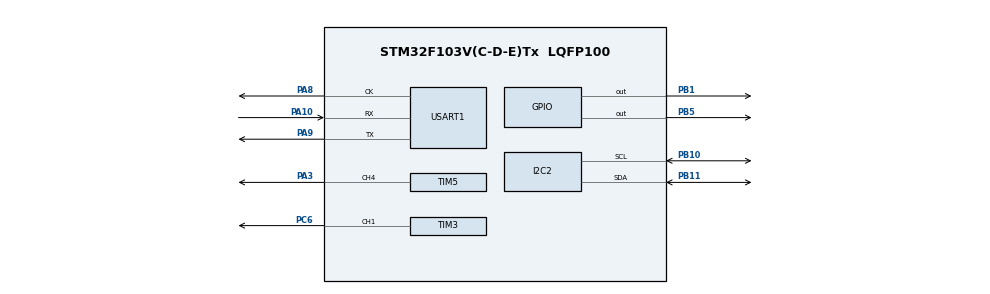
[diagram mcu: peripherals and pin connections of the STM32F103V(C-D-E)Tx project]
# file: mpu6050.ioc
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Mcu.Family=STM32F1
Mcu.Name=STM32F103V(C-D-E)Tx
Mcu.Package=LQFP100
NVIC.PriorityGroup=NVIC_PRIORITYGROUP_4
PA10.Mode=Synchronous
PA10.Signal=USART1_RX
PA13.Mode=JTAG_5_pins
PA13.Signal=SYS_JTMS-SWDIO
PA14.Mode=JTAG_5_pins
PA14.Signal=SYS_JTCK-SWCLK
PA15.Mode=JTAG_5_pins
PA15.Signal=SYS_JTDI
PA3.Signal=S_TIM5_CH4
PA8.Mode=Synchronous
PA8.Signal=USART1_CK
PA9.Mode=Synchronous
PA9.Signal=USART1_TX
PB1.Signal=GPIO_Output
PB10.Mode=I2C
PB10.Signal=I2C2_SCL
PB11.Mode=I2C
PB11.Signal=I2C2_SDA
PB3.Mode=JTAG_5_pins
PB3.Signal=SYS_JTDO-TRACESWO
PB4.Mode=JTAG_5_pins
PB4.Signal=SYS_NJTRST
PB5.Signal=GPIO_Output
PC6.Signal=S_TIM3_CH1
ProjectManager.HeapSize=0x200
ProjectManager.StackSize=0x400
ProjectManager.TargetToolchain=MDK-ARM V5
RCC.APB1Freq_Value=8000000
RCC.APB2Freq_Value=8000000
SH.S_TIM3_CH1.0=TIM3_CH1,PWM Generation1 CH1
SH.S_TIM5_CH4.0=TIM5_CH4,PWM Generation4 CH4
TIM3.Channel-PWM\ Generation1\ CH1=TIM_CHANNEL_1
TIM3.Period=2000
TIM3.Prescaler=80
TIM5.Channel-PWM\ Generation4\ CH4=TIM_CHANNEL_4
TIM5.Period=2000
TIM5.Prescaler=80
USART1.VirtualMode=VM_SYNC
board=custom

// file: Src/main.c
/* USER CODE BEGIN Header */
/**
  ******************************************************************************
  * @file           : main.c
  * @brief          : Main program body
  ******************************************************************************
  * @attention
  *
  * <h2><center>&copy; Copyright (c) 2019 STMicroelectronics.
  * All rights reserved.</center></h2>
  *
  * This software component is licensed by ST under BSD 3-Clause license,
  * the "License"; You may not use this file except in compliance with the
  * License. You may obtain a copy of the License at:
  *                        opensource.org/licenses/BSD-3-Clause
  *
  ******************************************************************************
  */
/* USER CODE END Header */

#include "main.h"

/* USER CODE BEGIN Includes */
#include "math.h"
#include "MadgwickAHRS.h"
#include "sd_hal_mpu6050.h"

/* USER CODE END Includes */

I2C_HandleTypeDef hi2c2;

TIM_HandleTypeDef htim3;
TIM_HandleTypeDef htim5;

USART_HandleTypeDef husart1;

/* USER CODE BEGIN PV */
SD_MPU6050 mpu1;

int16_t g_x, g_y, g_z;
int16_t a_x, a_y, a_z;
float a_ang;
int16_t m_x, m_y, m_z;
float m_ang;
float offset_val;
int offset_set=0;
float temper;
int16_t gScale = 1;
int16_t aScale = 1;
uint8_t magAddr = 0x1A;
float or0, or1, or2, or3;
int sweepLeft = 1;
float pwm_valY = 100, pwm_valX=100;
float pwm_angX,pwm_angY;
float pwm_prevX,pwm_prevY;
/* USER CODE END PV */

void SystemClock_Config(void);
static void MX_GPIO_Init(void);
static void MX_I2C2_Init(void);
static void MX_USART1_Init(void);
static void MX_TIM3_Init(void);
static void MX_TIM5_Init(void);
/* USER CODE BEGIN PFP */
static void I2C_Write(uint8_t slaveAddr, uint8_t regAddr, uint8_t data);
static uint8_t I2C_Read(uint8_t slaveAddr, uint8_t regAddr);
static void MAG_Init(void);
float map_pwm(float offset, float ang);
void user_pwm_setvalueX(uint16_t value);
void user_pwm_setvalueY(uint16_t value);
/* USER CODE END PFP */

int main(void)
{
  /* USER CODE BEGIN 1 */
		SD_MPU6050_Result result ;
		uint8_t mpu_ok[15] = {"MPU WORK FINE\n"};
		uint8_t mpu_not[17] = {"MPU NOT WORKING\n"};

  /* USER CODE END 1 */

  /* MCU Configuration--------------------------------------------------------*/

  /* Reset of all peripherals, Initializes the Flash interface and the Systick. */
  HAL_Init();

  /* USER CODE BEGIN Init */
	HAL_GPIO_WritePin(GPIOB,GPIO_PIN_1,GPIO_PIN_RESET);
  /* USER CODE END Init */

  /* Configure the system clock */
  SystemClock_Config();

  /* Initialize all configured peripherals */
  MX_GPIO_Init();
  MX_I2C2_Init();
  MX_USART1_Init();
  MX_TIM3_Init();
  MX_TIM5_Init();
  /* USER CODE BEGIN 2 */
	//HAL_GPIO_TogglePin(GPIOB, GPIO_PIN_5);
	MAG_Init();
	HAL_Delay(500);

	if(HAL_I2C_IsDeviceReady(&hi2c2, 0xD0, 2, 100) == HAL_OK ){
		HAL_GPIO_TogglePin(GPIOB, GPIO_PIN_5);
	}

	//HAL_GPIO_TogglePin(GPIOB, GPIO_PIN_1);

	if(HAL_I2C_IsDeviceReady(&hi2c2, 0x1A, 2, 100) == HAL_OK ){
		HAL_GPIO_TogglePin(GPIOB, GPIO_PIN_1);
	}

	HAL_TIM_PWM_Start(&htim3, TIM_CHANNEL_1);
	//user_pwm_setvalue(250);
  /* USER CODE END 2 */

  /* Infinite loop */
  /* USER CODE BEGIN WHILE */
  while (1)
  {
		/*
		user_pwm_setvalueX(pwm_valX);
		if (sweepLeft)
		{
			pwm_valX -= 5;
			if (pwm_valX <= 50){
				sweepLeft = 0;
			}

		} else {
			pwm_valX += 5;
			if (pwm_valX >= 250){
				sweepLeft = 1;
			}
		}

		HAL_Delay(20);
		*/
		//HAL_Delay(10000);

				result = SD_MPU6050_Init(&hi2c2,&mpu1,SD_MPU6050_Device_0,SD_MPU6050_Accelerometer_2G,SD_MPU6050_Gyroscope_250s );

		//Read Gyro
	  //HAL_Delay(500);
	  SD_MPU6050_ReadTemperature(&hi2c2,&mpu1);
	  temper = mpu1.Temperature;
	  SD_MPU6050_ReadGyroscope(&hi2c2,&mpu1);

	  g_x = mpu1.Gyroscope_X/gScale;
	  g_y = mpu1.Gyroscope_Y/gScale;
	  g_z = mpu1.Gyroscope_Z/gScale;

		SD_MPU6050_ReadAccelerometer(&hi2c2,&mpu1);
	  a_x = mpu1.Accelerometer_X/aScale;
	  a_y = mpu1.Accelerometer_Y/aScale;
	  a_z = mpu1.Accelerometer_Z/aScale;
		a_ang = ((float)a_y / 16384 ) * 90;
		MadgwickAHRSupdateIMU(g_x, g_y, g_z, a_x, a_y, a_z);
		or0 = q0; or1=q1; or2=q2;or3=q3;

		//Read Mag
		m_x =  I2C_Read(magAddr, 0x00) | (I2C_Read(magAddr, 0x01)<<8);
		m_y =  I2C_Read(magAddr, 0x02) | (I2C_Read(magAddr, 0x03)<<8);
		m_z =  I2C_Read(magAddr, 0x04) | (I2C_Read(magAddr, 0x05)<<8);

		m_ang = atan2f((float)m_y, (float)m_x)*180.0/3.14159265;

		if (m_ang < 0.0){
			m_ang += 360.0;
		}

		pwm_angY = a_y *90 / 16380;

		if (!offset_set){
			offset_val = m_ang;
			pwm_prevY = pwm_angY;
			offset_set = 1;
		}

		//pwm_ang = ;

		//pwm_angY = -pwm_angY;
		if (pwm_prevY - pwm_angY >3 ||  pwm_prevY - pwm_angY < -3){
			pwm_prevY = m_ang;
					if (pwm_angY < -90){
				user_pwm_setvalueY(50);
			} else if (pwm_angY > 90){
				user_pwm_setvalueY(230);
			} else{
				pwm_valY = (float)(150 + pwm_angY*100.0/90);
				user_pwm_setvalueY(pwm_valY);
			}
		}

		pwm_angX = map_pwm(offset_val, m_ang);
		pwm_angX = -pwm_angX;
		if (pwm_angX < -90){
				user_pwm_setvalueX(50);
			} else if (pwm_angX > 90){
				user_pwm_setvalueX(230);
			} else{
				pwm_valX = (float)(150 + pwm_angX*100.0/90);
				user_pwm_setvalueX(pwm_valX);
				pwm_prevX = pwm_valX;
		}

		/*
		if(pwm_ang > 360)
			pwm_ang -= 360;

		if (pwm_ang > 90 && pwm_ang < 180){
			user_pwm_setvalue(50);
		} else if (pwm_ang >= 180 && pwm_ang < 270){
			user_pwm_setvalue(250);
		} else{
			pwm_val = (float)(150 + pwm_ang*100.0/90);
			user_pwm_setvalue(pwm_val);
		}

    /* USER CODE END WHILE */

  }
}

void SystemClock_Config(void)
{
  RCC_OscInitTypeDef RCC_OscInitStruct = {0};
  RCC_ClkInitTypeDef RCC_ClkInitStruct = {0};

  /** Initializes the CPU, AHB and APB busses clocks
  */
  RCC_OscInitStruct.OscillatorType = RCC_OSCILLATORTYPE_HSI;
  RCC_OscInitStruct.HSIState = RCC_HSI_ON;
  RCC_OscInitStruct.HSICalibrationValue = RCC_HSICALIBRATION_DEFAULT;
  RCC_OscInitStruct.PLL.PLLState = RCC_PLL_NONE;
  if (HAL_RCC_OscConfig(&RCC_OscInitStruct) != HAL_OK)
  {
    Error_Handler();
  }
  /** Initializes the CPU, AHB and APB busses clocks
  */
  RCC_ClkInitStruct.ClockType = RCC_CLOCKTYPE_HCLK|RCC_CLOCKTYPE_SYSCLK
                              |RCC_CLOCKTYPE_PCLK1|RCC_CLOCKTYPE_PCLK2;
  RCC_ClkInitStruct.SYSCLKSource = RCC_SYSCLKSOURCE_HSI;
  RCC_ClkInitStruct.AHBCLKDivider = RCC_SYSCLK_DIV1;
  RCC_ClkInitStruct.APB1CLKDivider = RCC_HCLK_DIV1;
  RCC_ClkInitStruct.APB2CLKDivider = RCC_HCLK_DIV1;

  if (HAL_RCC_ClockConfig(&RCC_ClkInitStruct, FLASH_LATENCY_0) != HAL_OK)
  {
    Error_Handler();
  }
}

static void MX_I2C2_Init(void)
{

  hi2c2.Instance = I2C2;
  hi2c2.Init.ClockSpeed = 100000;
  hi2c2.Init.DutyCycle = I2C_DUTYCYCLE_2;
  hi2c2.Init.OwnAddress1 = 0;
  hi2c2.Init.AddressingMode = I2C_ADDRESSINGMODE_7BIT;
  hi2c2.Init.DualAddressMode = I2C_DUALADDRESS_DISABLE;
  hi2c2.Init.OwnAddress2 = 0;
  hi2c2.Init.GeneralCallMode = I2C_GENERALCALL_DISABLE;
  hi2c2.Init.NoStretchMode = I2C_NOSTRETCH_DISABLE;
  if (HAL_I2C_Init(&hi2c2) != HAL_OK)
  {
    Error_Handler();
  }

}

static void MX_TIM3_Init(void)
{

  TIM_MasterConfigTypeDef sMasterConfig = {0};
  TIM_OC_InitTypeDef sConfigOC = {0};

  htim3.Instance = TIM3;
  htim3.Init.Prescaler = 80;
  htim3.Init.CounterMode = TIM_COUNTERMODE_UP;
  htim3.Init.Period = 2000;
  htim3.Init.ClockDivision = TIM_CLOCKDIVISION_DIV1;
  htim3.Init.AutoReloadPreload = TIM_AUTORELOAD_PRELOAD_DISABLE;
  if (HAL_TIM_PWM_Init(&htim3) != HAL_OK)
  {
    Error_Handler();
  }
  sMasterConfig.MasterOutputTrigger = TIM_TRGO_RESET;
  sMasterConfig.MasterSlaveMode = TIM_MASTERSLAVEMODE_DISABLE;
  if (HAL_TIMEx_MasterConfigSynchronization(&htim3, &sMasterConfig) != HAL_OK)
  {
    Error_Handler();
  }
  sConfigOC.OCMode = TIM_OCMODE_PWM1;
  sConfigOC.Pulse = 0;
  sConfigOC.OCPolarity = TIM_OCPOLARITY_HIGH;
  sConfigOC.OCFastMode = TIM_OCFAST_DISABLE;
  if (HAL_TIM_PWM_ConfigChannel(&htim3, &sConfigOC, TIM_CHANNEL_1) != HAL_OK)
  {
    Error_Handler();
  }
  HAL_TIM_MspPostInit(&htim3);

}

static void MX_TIM5_Init(void)
{

  TIM_MasterConfigTypeDef sMasterConfig = {0};
  TIM_OC_InitTypeDef sConfigOC = {0};

  htim5.Instance = TIM5;
  htim5.Init.Prescaler = 80;
  htim5.Init.CounterMode = TIM_COUNTERMODE_UP;
  htim5.Init.Period = 2000;
  htim5.Init.ClockDivision = TIM_CLOCKDIVISION_DIV1;
  htim5.Init.AutoReloadPreload = TIM_AUTORELOAD_PRELOAD_DISABLE;
  if (HAL_TIM_PWM_Init(&htim5) != HAL_OK)
  {
    Error_Handler();
  }
  sMasterConfig.MasterOutputTrigger = TIM_TRGO_RESET;
  sMasterConfig.MasterSlaveMode = TIM_MASTERSLAVEMODE_DISABLE;
  if (HAL_TIMEx_MasterConfigSynchronization(&htim5, &sMasterConfig) != HAL_OK)
  {
    Error_Handler();
  }
  sConfigOC.OCMode = TIM_OCMODE_PWM1;
  sConfigOC.Pulse = 0;
  sConfigOC.OCPolarity = TIM_OCPOLARITY_HIGH;
  sConfigOC.OCFastMode = TIM_OCFAST_DISABLE;
  if (HAL_TIM_PWM_ConfigChannel(&htim5, &sConfigOC, TIM_CHANNEL_4) != HAL_OK)
  {
    Error_Handler();
  }
  HAL_TIM_MspPostInit(&htim5);

}

static void MX_USART1_Init(void)
{

  husart1.Instance = USART1;
  husart1.Init.BaudRate = 115200;
  husart1.Init.WordLength = USART_WORDLENGTH_8B;
  husart1.Init.StopBits = USART_STOPBITS_1;
  husart1.Init.Parity = USART_PARITY_NONE;
  husart1.Init.Mode = USART_MODE_TX_RX;
  husart1.Init.CLKPolarity = USART_POLARITY_LOW;
  husart1.Init.CLKPhase = USART_PHASE_1EDGE;
  husart1.Init.CLKLastBit = USART_LASTBIT_DISABLE;
  if (HAL_USART_Init(&husart1) != HAL_OK)
  {
    Error_Handler();
  }

}

static void MX_GPIO_Init(void)
{
  GPIO_InitTypeDef GPIO_InitStruct = {0};

  /* GPIO Ports Clock Enable */
  __HAL_RCC_GPIOA_CLK_ENABLE();
  __HAL_RCC_GPIOB_CLK_ENABLE();
  __HAL_RCC_GPIOC_CLK_ENABLE();

  /*Configure GPIO pin Output Level */
  HAL_GPIO_WritePin(GPIOB, GPIO_PIN_1|GPIO_PIN_5, GPIO_PIN_RESET);

  /*Configure GPIO pins : PB1 PB5 */
  GPIO_InitStruct.Pin = GPIO_PIN_1|GPIO_PIN_5;
  GPIO_InitStruct.Mode = GPIO_MODE_OUTPUT_PP;
  GPIO_InitStruct.Pull = GPIO_NOPULL;
  GPIO_InitStruct.Speed = GPIO_SPEED_FREQ_LOW;
  HAL_GPIO_Init(GPIOB, &GPIO_InitStruct);

}

/* USER CODE BEGIN 4 */
void I2C_Write(uint8_t slaveAddr, uint8_t regAddr, uint8_t data)
{
	uint8_t i2cData[2];
	i2cData[0] = regAddr;
	i2cData[1] = data;
	HAL_I2C_Master_Transmit(&hi2c2, slaveAddr, i2cData, 2, 100);
}

uint8_t I2C_Read(uint8_t slaveAddr, uint8_t regAddr)
{
	uint8_t i2cData[2];
	i2cData[0] = regAddr;
	HAL_I2C_Master_Transmit(&hi2c2, slaveAddr, i2cData, 1, 100);
	i2cData[1] = 0x00;
	HAL_I2C_Master_Receive(&hi2c2, slaveAddr, &i2cData[1], 1, 100);
	return i2cData[1];
}

void MAG_Init()
{
	I2C_Write(magAddr, 0x0A, 0x80);
	I2C_Write(magAddr, 0x0B, 0x01);
	I2C_Write(magAddr, 0x09, 0x1D);

	HAL_Delay(1000);
}

void user_pwm_setvalueX(uint16_t value)
{
    TIM_OC_InitTypeDef sConfigOC;

    sConfigOC.OCMode = TIM_OCMODE_PWM1;
    sConfigOC.Pulse = value;
    sConfigOC.OCPolarity = TIM_OCPOLARITY_HIGH;
    sConfigOC.OCFastMode = TIM_OCFAST_DISABLE;
    HAL_TIM_PWM_ConfigChannel(&htim3, &sConfigOC, TIM_CHANNEL_1);
    HAL_TIM_PWM_Start(&htim3, TIM_CHANNEL_1);
}

void user_pwm_setvalueY(uint16_t value)
{
    TIM_OC_InitTypeDef sConfigOC;

    sConfigOC.OCMode = TIM_OCMODE_PWM1;
    sConfigOC.Pulse = value;
    sConfigOC.OCPolarity = TIM_OCPOLARITY_HIGH;
    sConfigOC.OCFastMode = TIM_OCFAST_DISABLE;
    HAL_TIM_PWM_ConfigChannel(&htim5, &sConfigOC, TIM_CHANNEL_4);
    HAL_TIM_PWM_Start(&htim5, TIM_CHANNEL_4);
}
float map_pwm(float offset, float ang)
{
	//float result = 360 -offset + ang;
	/*
	float result = ang + (int)offset % 180;
	if(result > 360)
		result -= 360;
	if(result > 180)
		result -= 360;
	*/
	float result = ang -offset;

	if (offset < 90 && ang > 270+offset){
		result = -(360 -ang +offset);
	} else if (offset > 270 && ang < offset-270){
		result = 360 - offset + ang;
	}
	return result;
}
/* USER CO*/
/* USER CODE END 4 */

void Error_Handler(void)
{
}

/************************ (C) COPYRIGHT STMicroelectronics *****END OF FILE****/
